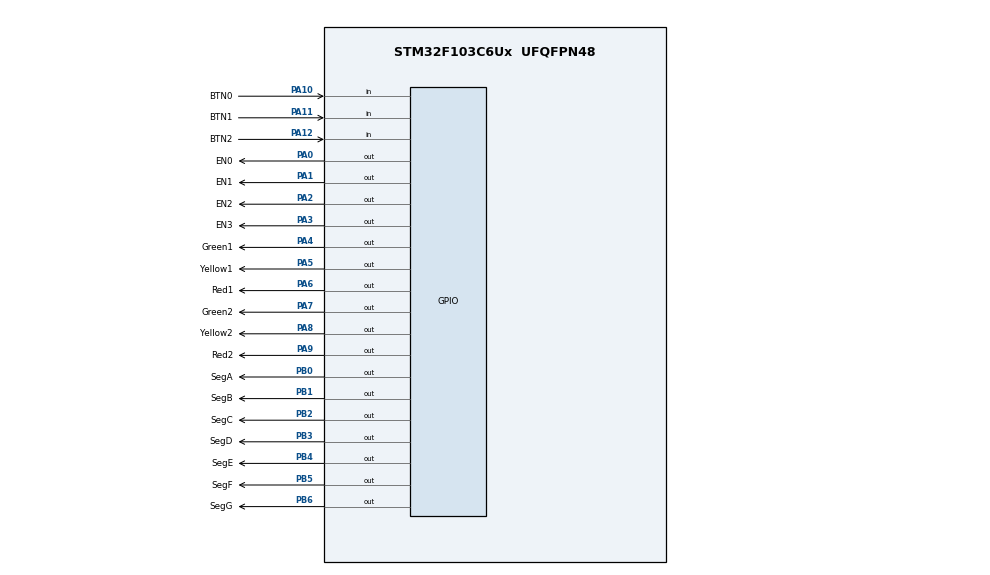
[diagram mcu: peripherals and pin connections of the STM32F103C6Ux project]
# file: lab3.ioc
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Mcu.Family=STM32F1
Mcu.Name=STM32F103C6Ux
Mcu.Package=UFQFPN48
NVIC.PriorityGroup=NVIC_PRIORITYGROUP_4
NVIC.TIM2_IRQn=true\:0\:0\:false\:false\:true\:true\:true
PA0-WKUP.GPIO_Label=EN0
PA0-WKUP.Signal=GPIO_Output
PA1.GPIO_Label=EN1
PA1.Signal=GPIO_Output
PA10.GPIO_Label=BTN0
PA10.GPIO_PuPd=GPIO_PULLUP
PA10.Signal=GPIO_Input
PA11.GPIO_Label=BTN1
PA11.GPIO_PuPd=GPIO_PULLUP
PA11.Signal=GPIO_Input
PA12.GPIO_Label=BTN2
PA12.GPIO_PuPd=GPIO_PULLUP
PA12.Signal=GPIO_Input
PA2.GPIO_Label=EN2
PA2.Signal=GPIO_Output
PA3.GPIO_Label=EN3
PA3.Signal=GPIO_Output
PA4.GPIO_Label=Green1
PA4.Signal=GPIO_Output
PA5.GPIO_Label=Yellow1
PA5.Signal=GPIO_Output
PA6.GPIO_Label=Red1
PA6.Signal=GPIO_Output
PA7.GPIO_Label=Green2
PA7.Signal=GPIO_Output
PA8.GPIO_Label=Yellow2
PA8.Signal=GPIO_Output
PA9.GPIO_Label=Red2
PA9.Signal=GPIO_Output
PB0.GPIO_Label=SegA
PB0.Signal=GPIO_Output
PB1.GPIO_Label=SegB
PB1.Signal=GPIO_Output
PB2.GPIO_Label=SegC
PB2.Signal=GPIO_Output
PB3.GPIO_Label=SegD
PB3.Signal=GPIO_Output
PB4.GPIO_Label=SegE
PB4.Signal=GPIO_Output
PB5.GPIO_Label=SegF
PB5.Signal=GPIO_Output
PB6.GPIO_Label=SegG
PB6.Signal=GPIO_Output
ProjectManager.HeapSize=0x200
ProjectManager.StackSize=0x400
ProjectManager.TargetToolchain=STM32CubeIDE
RCC.APB1Freq_Value=8000000
RCC.APB2Freq_Value=8000000
TIM2.Period=9
TIM2.Prescaler=7999
VP_SYS_VS_ND.Mode=No_Debug
VP_TIM2_VS_ClockSourceINT.Mode=Internal
board=custom

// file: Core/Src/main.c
/* USER CODE BEGIN Header */
/**
  ******************************************************************************
  * @file           : main.c
  * @brief          : Main program body
  ******************************************************************************
  * @attention
  *
  * <h2><center>&copy; Copyright (c) 2023 STMicroelectronics.
  * All rights reserved.</center></h2>
  *
  * This software component is licensed by ST under BSD 3-Clause license,
  * the "License"; You may not use this file except in compliance with the
  * License. You may obtain a copy of the License at:
  *                        opensource.org/licenses/BSD-3-Clause
  *
  ******************************************************************************
  */
/* USER CODE END Header */
#include "main.h"

/* USER CODE BEGIN Includes */
#include "fsm_automatic.h"
#include "fsm_manual.h"
/* USER CODE END Includes */

TIM_HandleTypeDef htim2;

void SystemClock_Config(void);
static void MX_GPIO_Init(void);
static void MX_TIM2_Init(void);

int main(void)
{

  /* MCU Configuration--------------------------------------------------------*/

  /* Reset of all peripherals, Initializes the Flash interface and the Systick. */
  HAL_Init();

  /* Configure the system clock */
  SystemClock_Config();

  /* Initialize all configured peripherals */
  MX_GPIO_Init();
  MX_TIM2_Init();
  /* USER CODE BEGIN 2 */
  HAL_TIM_Base_Start_IT (& htim2);
  /* USER CODE END 2 */

  /* Infinite loop */
  /* USER CODE BEGIN WHILE */
  status = INIT;
//  setTimer(0, 100);
  setTimer(1, 100);
  setTimer(2, 10);
  setTimer(3, 50);
  while (1)
  {
	  fsm_automatic_run();
	  fsm_manual_run();

	  if (timerFlag[2] == 1) { //for time in 7 seg leds
		update7SEGLed(index7SEGLed++);
	  if (index7SEGLed > 3)
		index7SEGLed = 0;
	  setTimer(2, 10);
	  }
    /* USER CODE END WHILE */

  }
}

void SystemClock_Config(void)
{
  RCC_OscInitTypeDef RCC_OscInitStruct = {0};
  RCC_ClkInitTypeDef RCC_ClkInitStruct = {0};

  /** Initializes the RCC Oscillators according to the specified parameters
  * in the RCC_OscInitTypeDef structure.
  */
  RCC_OscInitStruct.OscillatorType = RCC_OSCILLATORTYPE_HSI;
  RCC_OscInitStruct.HSIState = RCC_HSI_ON;
  RCC_OscInitStruct.HSICalibrationValue = RCC_HSICALIBRATION_DEFAULT;
  RCC_OscInitStruct.PLL.PLLState = RCC_PLL_NONE;
  if (HAL_RCC_OscConfig(&RCC_OscInitStruct) != HAL_OK)
  {
    Error_Handler();
  }
  /** Initializes the CPU, AHB and APB buses clocks
  */
  RCC_ClkInitStruct.ClockType = RCC_CLOCKTYPE_HCLK|RCC_CLOCKTYPE_SYSCLK
                              |RCC_CLOCKTYPE_PCLK1|RCC_CLOCKTYPE_PCLK2;
  RCC_ClkInitStruct.SYSCLKSource = RCC_SYSCLKSOURCE_HSI;
  RCC_ClkInitStruct.AHBCLKDivider = RCC_SYSCLK_DIV1;
  RCC_ClkInitStruct.APB1CLKDivider = RCC_HCLK_DIV1;
  RCC_ClkInitStruct.APB2CLKDivider = RCC_HCLK_DIV1;

  if (HAL_RCC_ClockConfig(&RCC_ClkInitStruct, FLASH_LATENCY_0) != HAL_OK)
  {
    Error_Handler();
  }
}

static void MX_TIM2_Init(void)
{

  TIM_ClockConfigTypeDef sClockSourceConfig = {0};
  TIM_MasterConfigTypeDef sMasterConfig = {0};

  htim2.Instance = TIM2;
  htim2.Init.Prescaler = 7999;
  htim2.Init.CounterMode = TIM_COUNTERMODE_UP;
  htim2.Init.Period = 9;
  htim2.Init.ClockDivision = TIM_CLOCKDIVISION_DIV1;
  htim2.Init.AutoReloadPreload = TIM_AUTORELOAD_PRELOAD_DISABLE;
  if (HAL_TIM_Base_Init(&htim2) != HAL_OK)
  {
    Error_Handler();
  }
  sClockSourceConfig.ClockSource = TIM_CLOCKSOURCE_INTERNAL;
  if (HAL_TIM_ConfigClockSource(&htim2, &sClockSourceConfig) != HAL_OK)
  {
    Error_Handler();
  }
  sMasterConfig.MasterOutputTrigger = TIM_TRGO_RESET;
  sMasterConfig.MasterSlaveMode = TIM_MASTERSLAVEMODE_DISABLE;
  if (HAL_TIMEx_MasterConfigSynchronization(&htim2, &sMasterConfig) != HAL_OK)
  {
    Error_Handler();
  }

}

static void MX_GPIO_Init(void)
{
  GPIO_InitTypeDef GPIO_InitStruct = {0};

  /* GPIO Ports Clock Enable */
  __HAL_RCC_GPIOA_CLK_ENABLE();
  __HAL_RCC_GPIOB_CLK_ENABLE();

  /*Configure GPIO pin Output Level */
  HAL_GPIO_WritePin(GPIOA, EN0_Pin|EN1_Pin|EN2_Pin|EN3_Pin
                          |Green1_Pin|Yellow1_Pin|Red1_Pin|Green2_Pin
                          |Yellow2_Pin|Red2_Pin, GPIO_PIN_RESET);

  /*Configure GPIO pin Output Level */
  HAL_GPIO_WritePin(GPIOB, SegA_Pin|SegB_Pin|SegC_Pin|SegD_Pin
                          |SegE_Pin|SegF_Pin|SegG_Pin, GPIO_PIN_RESET);

  /*Configure GPIO pins : EN0_Pin EN1_Pin EN2_Pin EN3_Pin
                           Green1_Pin Yellow1_Pin Red1_Pin Green2_Pin
                           Yellow2_Pin Red2_Pin */
  GPIO_InitStruct.Pin = EN0_Pin|EN1_Pin|EN2_Pin|EN3_Pin
                          |Green1_Pin|Yellow1_Pin|Red1_Pin|Green2_Pin
                          |Yellow2_Pin|Red2_Pin;
  GPIO_InitStruct.Mode = GPIO_MODE_OUTPUT_PP;
  GPIO_InitStruct.Pull = GPIO_NOPULL;
  GPIO_InitStruct.Speed = GPIO_SPEED_FREQ_LOW;
  HAL_GPIO_Init(GPIOA, &GPIO_InitStruct);

  /*Configure GPIO pins : SegA_Pin SegB_Pin SegC_Pin SegD_Pin
                           SegE_Pin SegF_Pin SegG_Pin */
  GPIO_InitStruct.Pin = SegA_Pin|SegB_Pin|SegC_Pin|SegD_Pin
                          |SegE_Pin|SegF_Pin|SegG_Pin;
  GPIO_InitStruct.Mode = GPIO_MODE_OUTPUT_PP;
  GPIO_InitStruct.Pull = GPIO_NOPULL;
  GPIO_InitStruct.Speed = GPIO_SPEED_FREQ_LOW;
  HAL_GPIO_Init(GPIOB, &GPIO_InitStruct);

  /*Configure GPIO pins : BTN0_Pin BTN1_Pin BTN2_Pin */
  GPIO_InitStruct.Pin = BTN0_Pin|BTN1_Pin|BTN2_Pin;
  GPIO_InitStruct.Mode = GPIO_MODE_INPUT;
  GPIO_InitStruct.Pull = GPIO_PULLUP;
  HAL_GPIO_Init(GPIOA, &GPIO_InitStruct);

}

/* USER CODE BEGIN 4 */
void HAL_TIM_PeriodElapsedCallback ( TIM_HandleTypeDef * htim ) {
	timerRun(0);
	timerRun(1);
	timerRun(2);
	timerRun(3);
	getKeyInput(0);
	getKeyInput(1);
	getKeyInput(2);

}
/* USER CODE END 4 */

void Error_Handler(void)
{
  __disable_irq();
  while (1)
  {
  }
}

/************************ (C) COPYRIGHT STMicroelectronics *****END OF FILE****/
